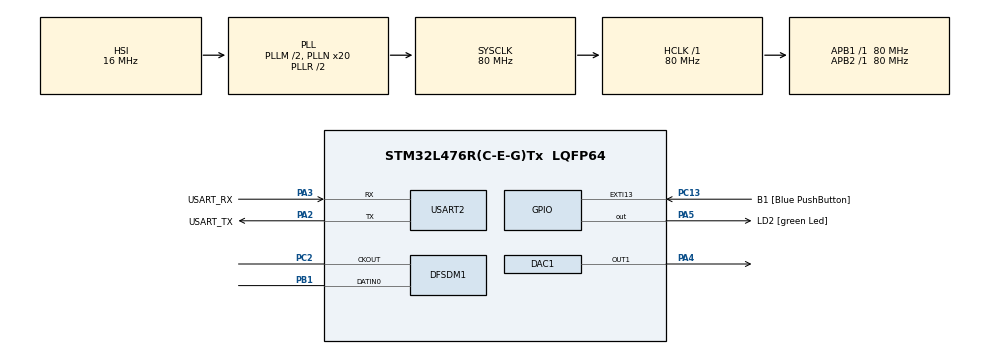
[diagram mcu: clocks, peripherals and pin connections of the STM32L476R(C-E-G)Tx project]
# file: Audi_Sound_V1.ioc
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DAC1.DAC_Trigger-DAC_OUT1=DAC_TRIGGER_T6_TRGO
DFSDM1.Filter_injChannel0_FIL0=__NULL
Dma.DAC_CH1.0.Direction=DMA_MEMORY_TO_PERIPH
Dma.DAC_CH1.0.Instance=DMA1_Channel3
Dma.DAC_CH1.0.MemDataAlignment=DMA_MDATAALIGN_HALFWORD
Dma.DAC_CH1.0.MemInc=DMA_MINC_ENABLE
Dma.DAC_CH1.0.Mode=DMA_NORMAL
Dma.DAC_CH1.0.PeriphDataAlignment=DMA_PDATAALIGN_HALFWORD
Dma.DAC_CH1.0.PeriphInc=DMA_PINC_DISABLE
Dma.DAC_CH1.0.Priority=DMA_PRIORITY_LOW
Dma.Request0=DAC_CH1
Mcu.Family=STM32L4
Mcu.Name=STM32L476R(C-E-G)Tx
Mcu.Package=LQFP64
NVIC.DMA1_Channel3_IRQn=true\:0\:0\:false\:false\:true\:false\:true\:true
NVIC.PriorityGroup=NVIC_PRIORITYGROUP_4
PA13\ (JTMS-SWDIO).GPIO_Label=TMS
PA13\ (JTMS-SWDIO).Mode=Serial_Wire
PA13\ (JTMS-SWDIO).Signal=SYS_JTMS-SWDIO
PA14\ (JTCK-SWCLK).GPIO_Label=TCK
PA14\ (JTCK-SWCLK).Mode=Serial_Wire
PA14\ (JTCK-SWCLK).Signal=SYS_JTCK-SWCLK
PA2.GPIO_Label=USART_TX
PA2.GPIO_Mode=GPIO_MODE_AF_PP
PA2.GPIO_PuPd=GPIO_NOPULL
PA2.GPIO_Speed=GPIO_SPEED_FREQ_VERY_HIGH
PA2.Mode=Asynchronous
PA2.Signal=USART2_TX
PA3.GPIO_Label=USART_RX
PA3.GPIO_Mode=GPIO_MODE_AF_PP
PA3.GPIO_PuPd=GPIO_NOPULL
PA3.GPIO_Speed=GPIO_SPEED_FREQ_VERY_HIGH
PA3.Mode=Asynchronous
PA3.Signal=USART2_RX
PA4.Signal=COMP_DAC11_group
PA5.GPIO_Label=LD2 [green Led]
PA5.GPIO_ModeDefaultOutputPP=GPIO_MODE_OUTPUT_PP
PA5.GPIO_PuPd=GPIO_NOPULL
PA5.GPIO_Speed=GPIO_SPEED_FREQ_LOW
PA5.Signal=GPIO_Output
PB1.Signal=S_DATAIN0DFSDM1
PB3\ (JTDO-TRACESWO).GPIO_Label=SWO
PB3\ (JTDO-TRACESWO).Signal=SYS_JTDO-SWO
PC13.GPIO_Label=B1 [Blue PushButton]
PC13.GPIO_ModeDefaultEXTI=GPIO_MODE_IT_FALLING
PC13.GPIO_PuPd=GPIO_NOPULL
PC13.Signal=GPXTI13
PC14-OSC32_IN\ (PC14).Mode=LSE-External-Oscillator
PC14-OSC32_IN\ (PC14).Signal=RCC_OSC32_IN
PC15-OSC32_OUT\ (PC15).Mode=LSE-External-Oscillator
PC15-OSC32_OUT\ (PC15).Signal=RCC_OSC32_OUT
PC2.Signal=S_CKOUTDFSDM1
PH0-OSC_IN\ (PH0).Signal=RCC_OSC_IN
PH1-OSC_OUT\ (PH1).Signal=RCC_OSC_OUT
ProjectManager.HeapSize=0x200
ProjectManager.StackSize=0x400
ProjectManager.TargetToolchain=STM32CubeIDE
RCC.ADCFreq_Value=64000000
RCC.AHBFreq_Value=80000000
RCC.APB1Freq_Value=80000000
RCC.APB1TimFreq_Value=80000000
RCC.APB2Freq_Value=80000000
RCC.APB2TimFreq_Value=80000000
RCC.CortexFreq_Value=80000000
RCC.HCLKFreq_Value=80000000
RCC.HSE_VALUE=8000000
RCC.HSI_VALUE=16000000
RCC.MSI_VALUE=4000000
RCC.PLLN=10
RCC.PLLSourceVirtual=RCC_PLLSOURCE_HSI
RCC.PREFETCH_ENABLE=1
RCC.SYSCLKFreq_VALUE=80000000
RCC.SYSCLKSource=RCC_SYSCLKSOURCE_PLLCLK
RCC.USBFreq_Value=64000000
RCC.VCOOutputFreq_Value=160000000
SH.COMP_DAC11_group.0=DAC1_OUT1,DAC_OUT1
SH.S_CKOUTDFSDM1.0=DFSDM1_CKOUT,PDM_SPI_input_from_ch0_and_internal_clock
SH.S_DATAIN0DFSDM1.0=DFSDM1_DATIN0,PDM_SPI_input_from_ch0_and_internal_clock
TIM6.AutoReloadPreload=TIM_AUTORELOAD_PRELOAD_ENABLE
TIM6.Period=500
TIM6.TIM_MasterOutputTrigger=TIM_TRGO_UPDATE
USART2.VirtualMode-Asynchronous=VM_ASYNC
VP_TIM6_VS_ClockSourceINT.Mode=Enable_Timer
board=NUCLEO-L476RG

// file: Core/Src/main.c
/**
  ******************************************************************************
  * File Name          : main.c
  * Description        : Main program body
  ******************************************************************************
  ** This notice applies to any and all portions of this file
  * that are not between comment pairs USER CODE BEGIN and
  * USER CODE END. Other portions of this file, whether
  * inserted by the user or by software development tools
  * are owned by their respective copyright owners.
  *
  * COPYRIGHT(c) 2017 STMicroelectronics
  *
  * Redistribution and use in source and binary forms, with or without modification,
  * are permitted provided that the following conditions are met:
  *   1. Redistributions of source code must retain the above copyright notice,
  *      this list of conditions and the following disclaimer.
  *   2. Redistributions in binary form must reproduce the above copyright notice,
  *      this list of conditions and the following disclaimer in the documentation
  *      and/or other materials provided with the distribution.
  *   3. Neither the name of STMicroelectronics nor the names of its contributors
  *      may be used to endorse or promote products derived from this software
  *      without specific prior written permission.
  *
  * THIS SOFTWARE IS PROVIDED BY THE COPYRIGHT HOLDERS AND CONTRIBUTORS "AS IS"
  * AND ANY EXPRESS OR IMPLIED WARRANTIES, INCLUDING, BUT NOT LIMITED TO, THE
  * IMPLIED WARRANTIES OF MERCHANTABILITY AND FITNESS FOR A PARTICULAR PURPOSE ARE
  * DISCLAIMED. IN NO EVENT SHALL THE COPYRIGHT HOLDER OR CONTRIBUTORS BE LIABLE
  * FOR ANY DIRECT, INDIRECT, INCIDENTAL, SPECIAL, EXEMPLARY, OR CONSEQUENTIAL
  * DAMAGES (INCLUDING, BUT NOT LIMITED TO, PROCUREMENT OF SUBSTITUTE GOODS OR
  * SERVICES; LOSS OF USE, DATA, OR PROFITS; OR BUSINESS INTERRUPTION) HOWEVER
  * CAUSED AND ON ANY THEORY OF LIABILITY, WHETHER IN CONTRACT, STRICT LIABILITY,
  * OR TORT (INCLUDING NEGLIGENCE OR OTHERWISE) ARISING IN ANY WAY OUT OF THE USE
  * OF THIS SOFTWARE, EVEN IF ADVISED OF THE POSSIBILITY OF SUCH DAMAGE.
  *
  ******************************************************************************
  */
#include "main.h"
#include "stm32l4xx_hal.h"
#include "dfsdm.h"
#include "dma.h"
#include "usart.h"
#include "gpio.h"
#include "dac.h"
#include "tim.h"

/* USER CODE BEGIN Includes */
#include "math.h"
#include "stdbool.h"
//#include "arm_math.h"
/* USER CODE END Includes */

/* USER CODE BEGIN PV */
/* Private variables ---------------------------------------------------------*/
bool flag = true;
int32_t Buff[FFT_SampleNum] = {0};

//arm_rfft_fast_instance_f32 S;
float FFT_SampleRate;
int32_t FFT_inp_int32[FFT_SampleNum] = {0};
float FFT_inp[FFT_SampleNum] = {0.0f};
float FFT_oup[FFT_SampleNum] = {0.0f};
float FFT_mag[FFT_SampleNum/2] = {0.0f};
float FFT_dB[FFT_SampleNum/2] = {0.0f};
float FFT_frq[FFT_SampleNum/2] = {0.0f};
float FFT_window[FFT_SampleNum] = {0.0f};

volatile uint32_t dac1_out1_buf[FFT_SampleNum] = { 0 };
volatile bool adc1_in1_a = false;
volatile bool adc1_in1_b = false;
/* USER CODE END PV */

void SystemClock_Config(void);

/* USER CODE BEGIN PFP */
/* Private function prototypes -----------------------------------------------*/

/* USER CODE END PFP */

int main(void)
{

  /* MCU Configuration----------------------------------------------------------*/

  /* Reset of all peripherals, Initializes the Flash interface and the Systick. */
  HAL_Init();

  /* Configure the system clock */
  SystemClock_Config();

  /* Initialize all configured peripherals */
  MX_GPIO_Init();
  MX_TIM6_Init();
  MX_DMA_Init();
  MX_DFSDM1_Init();
  MX_USART2_UART_Init();
  MX_DAC1_Init();

  // Start timer 6 and DAC for DMA
  HAL_TIM_Base_Start(&htim6);
  HAL_DAC_Start(&hdac1, DAC_CHANNEL_1);
  HAL_DAC_Start_DMA(&hdac1, DAC_CHANNEL_1, (uint32_t*)dac1_out1_buf, FFT_SampleNum,
       DAC_ALIGN_12B_R);

  /* USER CODE END WHILE */

  /* USER CODE BEGIN 2 */
  printf("\r\n***** Program start! *****\r\n");
  HAL_Delay(100);
    if (HAL_DFSDM_FilterRegularStart_DMA(&hdfsdm1_filter0, Buff, FFT_SampleNum) != HAL_OK)
    {
        Error_Handler();
    }

    // FFT init
    FFT_SampleRate = SystemCoreClock / hdfsdm1_channel0.Init.OutputClock.Divider
            / hdfsdm1_filter0.Init.FilterParam.Oversampling
            / hdfsdm1_filter0.Init.FilterParam.IntOversampling;

  /* USER CODE END 2 */

  /* Infinite loop */
  /* USER CODE BEGIN WHILE */
    while (1)
      {
            // Wait
    	    printf("\r\n***** test *****\r\n");
            //while (flag);

            // Set input data

            /*for (uint32_t i = 0; i < FFT_SampleNum ; i++){
            	FFT_inp[i] = (float) FFT_inp_int32[i];
            	dac1_out1_buf[i] = (uint32_t) FFT_inp[i];
            	printf("\r\n%u\r",dac1_out1_buf[i]);
            }*/

            if (adc1_in1_a) {
                 if (Buff[0] >= (4095-128) || Buff[0] <128) {
                   printf("%u @ %lu\n", Buff[0], HAL_GetTick());
                 }
                 for (uint32_t n = 0; n < 1024; n++) {
                   dac1_out1_buf[n] = Buff[n];
                   printf("\r\n%u\r",dac1_out1_buf[n]);
                 }
                 adc1_in1_a = false;
               } else if (adc1_in1_b) {
                 for (uint32_t n = 1024; n < 1024*2; n++) {
                	 printf("\r\n%u\r",dac1_out1_buf[n]);
                 }
                 adc1_in1_b = false;
               }

            flag = true;        // <- Continuous transformation
        /* USER CODE END WHILE */

      }

}

/** System Clock Configuration
*/
void SystemClock_Config(void)
{

  RCC_OscInitTypeDef RCC_OscInitStruct;
  RCC_ClkInitTypeDef RCC_ClkInitStruct;
  RCC_PeriphCLKInitTypeDef PeriphClkInit;

    /**Initializes the CPU, AHB and APB busses clocks
    */
  RCC_OscInitStruct.OscillatorType = RCC_OSCILLATORTYPE_HSI;
  RCC_OscInitStruct.HSIState = RCC_HSI_ON;
  RCC_OscInitStruct.HSICalibrationValue = 16;
  RCC_OscInitStruct.PLL.PLLState = RCC_PLL_ON;
  RCC_OscInitStruct.PLL.PLLSource = RCC_PLLSOURCE_HSI;
  RCC_OscInitStruct.PLL.PLLM = 2;
  RCC_OscInitStruct.PLL.PLLN = 20;
  RCC_OscInitStruct.PLL.PLLP = RCC_PLLP_DIV7;
  RCC_OscInitStruct.PLL.PLLQ = RCC_PLLQ_DIV2;
  RCC_OscInitStruct.PLL.PLLR = RCC_PLLR_DIV2;
  if (HAL_RCC_OscConfig(&RCC_OscInitStruct) != HAL_OK)
  {
    _Error_Handler(__FILE__, __LINE__);
  }

    /**Initializes the CPU, AHB and APB busses clocks
    */
  RCC_ClkInitStruct.ClockType = RCC_CLOCKTYPE_HCLK|RCC_CLOCKTYPE_SYSCLK
                              |RCC_CLOCKTYPE_PCLK1|RCC_CLOCKTYPE_PCLK2;
  RCC_ClkInitStruct.SYSCLKSource = RCC_SYSCLKSOURCE_PLLCLK;
  RCC_ClkInitStruct.AHBCLKDivider = RCC_SYSCLK_DIV1;
  RCC_ClkInitStruct.APB1CLKDivider = RCC_HCLK_DIV1;
  RCC_ClkInitStruct.APB2CLKDivider = RCC_HCLK_DIV1;

  if (HAL_RCC_ClockConfig(&RCC_ClkInitStruct, FLASH_LATENCY_4) != HAL_OK)
  {
    _Error_Handler(__FILE__, __LINE__);
  }

  PeriphClkInit.PeriphClockSelection = RCC_PERIPHCLK_USART2|RCC_PERIPHCLK_DFSDM1;
  PeriphClkInit.Usart2ClockSelection = RCC_USART2CLKSOURCE_PCLK1;
  PeriphClkInit.Dfsdm1ClockSelection = RCC_DFSDM1CLKSOURCE_PCLK;
  if (HAL_RCCEx_PeriphCLKConfig(&PeriphClkInit) != HAL_OK)
  {
    _Error_Handler(__FILE__, __LINE__);
  }

    /**Configure the main internal regulator output voltage
    */
  if (HAL_PWREx_ControlVoltageScaling(PWR_REGULATOR_VOLTAGE_SCALE1) != HAL_OK)
  {
    _Error_Handler(__FILE__, __LINE__);
  }

    /**Configure the Systick interrupt time
    */
  HAL_SYSTICK_Config(HAL_RCC_GetHCLKFreq()/1000);

    /**Configure the Systick
    */
  HAL_SYSTICK_CLKSourceConfig(SYSTICK_CLKSOURCE_HCLK);

  /* SysTick_IRQn interrupt configuration */
  HAL_NVIC_SetPriority(SysTick_IRQn, 0, 0);
}

/* USER CODE BEGIN 4 */

/**
  * @brief  Half regular conversion complete callback.
  * @param  hdfsdm_filter : DFSDM filter handle.
  * @retval None
  */
void HAL_DFSDM_FilterRegConvHalfCpltCallback(DFSDM_Filter_HandleTypeDef *hdfsdm_filter)
{
	  if (hdfsdm_filter == &hdfsdm1_filter0) {
	    adc1_in1_a = true;
	  }

}

void HAL_DFSDM_FilterRegConvCpltCallback(DFSDM_Filter_HandleTypeDef *hdfsdm_filter)
{
	 if (hdfsdm_filter == &hdfsdm1_filter0) {
	    adc1_in1_b = true;
	  }

}

/**
 * @brief  Retargets the C library printf function to the USART.
 * @param  None
 * @retval None
 */
int _write(int file, char *ptr, int len)
{
    HAL_UART_Transmit(&huart2, (uint8_t *)ptr, (uint16_t)len, 0xFFFFFFFF);
    return len;
}

/* USER CODE END 4 */

void _Error_Handler(char * file, int line)
{
  while(1)
  {
  }
}

/************************ (C) COPYRIGHT STMicroelectronics *****END OF FILE****/
